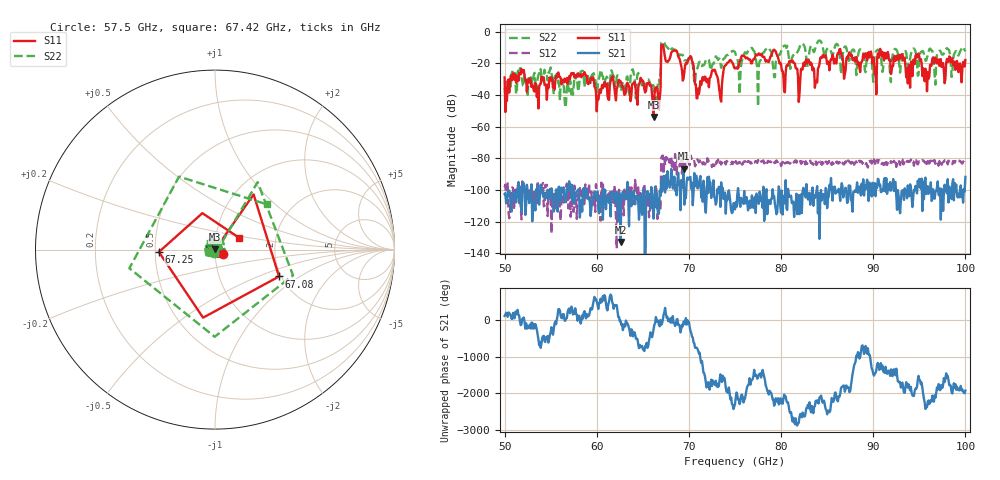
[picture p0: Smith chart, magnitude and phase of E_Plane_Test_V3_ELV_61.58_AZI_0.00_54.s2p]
! 11/26/2026 4:35:50 PM
! C:\ANRITSUVNA\TEMP\TEMP.S2P
! CHANNEL.1
! TR.MEASUREMENT
! RAW.DATA
# HZ S RI R 50.0
! FREQ.HZ  S11RE  S11IM  S21RE  S21IM  S12RE  S12IM  S22RE  S22IM
!; PortSelection: Port_12
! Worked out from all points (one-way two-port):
!   601 points, 50 GHz to 100 GHz, reference 50 ohm
!   highest |S21| = -86.64 dB at 69.42 GHz (marker M1); lowest = -133.0 dB at 62.58 GHz (marker M2)
!   lowest |S11| = -54.0 dB at 66.17 GHz (marker M3), VSWR 1.00, Z = 50.1 + j0.146 ohm
!   |S11| at or under -10 dB: start of sweep to 67 GHz; 67.25 GHz to end of sweep
!   |S22| runs from -48.1 to -5.6 dB; largest |S21 - S12| = 0.00014
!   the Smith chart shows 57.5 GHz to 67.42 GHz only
!   S11 on the Smith chart (normalised r, x): 57.5 GHz: 1.09, -0.05; 67.08 GHz: 1.95, -0.69; 67.25 GHz: 0.52, -0.02; 67.42 GHz: 1.29, +0.18
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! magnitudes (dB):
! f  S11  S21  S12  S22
! 50 GHz  -29.0  -102.6  -98.3  -35.4
! 57.5 GHz  -26.1  -99.7  -113.9  -34.6
! 58.42 GHz  -27.1  -113.7  -100.5  -24.8
! 60.17 GHz  -42.9  -112.2  -107.1  -30.3
! 62.58 GHz  -31.4  -133.0  -112.6  -37.5
! 66.17 GHz  -54.0  -118.2  -113.4  -34.0
! 66.67 GHz  -41.5  -115.6  -108.9  -31.6
! 67.08 GHz  -8.2  -101.2  -78.8  -6.8
! 67.25 GHz  -10.1  -91.2  -90.1  -6.2
! 67.42 GHz  -16.6  -101.7  -84.4  -8.3
! 69.42 GHz  -29.8  -86.6  -84.3  -16.2
! 70.25 GHz  -15.9  -99.4  -79.4  -18.7
! 70.92 GHz  -42.2  -99.0  -80.8  -23.2
! 75 GHz  -23.3  -112.4  -83.8  -13.0
! 77.58 GHz  -13.8  -108.8  -82.3  -21.7
! 78.5 GHz  -18.2  -115.4  -83.0  -10.8
! 79.33 GHz  -11.8  -109.1  -82.3  -28.8
! 80.25 GHz  -27.9  -103.9  -81.1  -9.4
! 83.42 GHz  -24.5  -98.5  -83.1  -10.8
! 91.67 GHz  -16.7  -96.4  -81.5  -15.2
! 95.83 GHz  -37.7  -102.1  -84.2  -16.5
! 100 GHz  -17.9  -91.9  -82.5  -12.5
